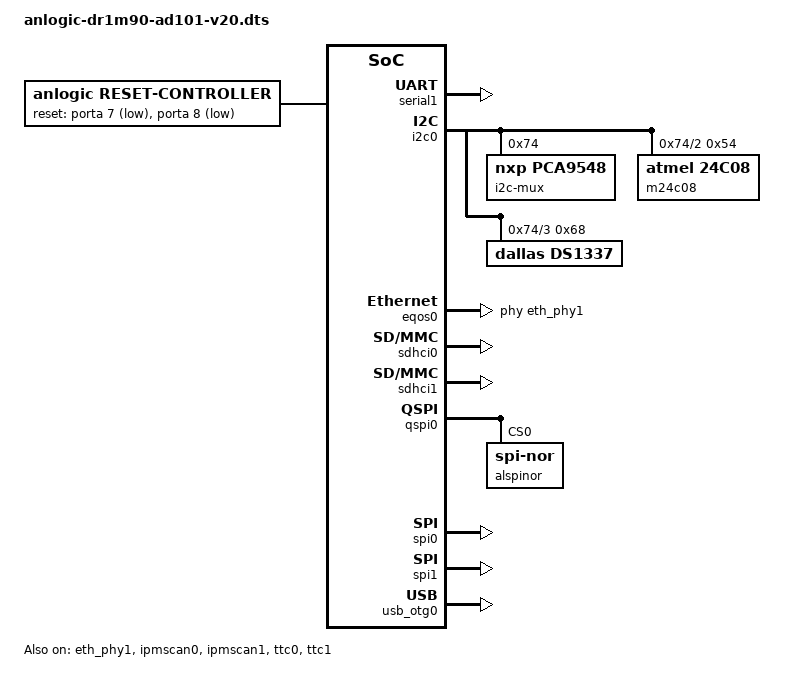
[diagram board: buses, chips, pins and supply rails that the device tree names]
// SPDX-License-Identifier: (GPL-2.0+ OR MIT)

/dts-v1/;
#include "anlogic-dr1m90.dts"
#include "anlogic-dr1m90-softip.dts"

&cma {
	alloc-ranges = <0x0 0x00000000 0x0 0x1fffffff>;
	size = <0x0 0x8000000>;
};

&memory {
	reg = <0 0x00000000 0 0x40000000>;
};

&soc {
	leds {
		compatible = "gpio-leds";
		led1: led1 {
			gpios = <&porta 14 GPIO_ACTIVE_HIGH>;
			linux,default-trigger = "heartbeat";
			status = "disabled";
		};
		led2: led2 {
			gpios = <&porta 13 GPIO_ACTIVE_HIGH>;
			linux,default-trigger = "heartbeat";
			status = "disabled";
		};
		led3: led3 {
			gpios = <&porta 12 GPIO_ACTIVE_HIGH>;
			linux,default-trigger = "heartbeat";
			status = "disabled";
		};
	};

	keys {
		compatible = "gpio-keys";
		sw6: sw6 {
			gpios = <&porta 10 GPIO_ACTIVE_LOW>;
			linux,code = <103>;
			status = "disabled";
		};
		sw8: sw8 {
			gpios = <&porta 11 GPIO_ACTIVE_HIGH>;
			linux,code = <108>;
			status = "disabled";
		};
		sw5: sw5 {
			gpios = <&portc 0 GPIO_ACTIVE_HIGH>;
			linux,code = <108>;
			status = "disabled";
		};
	};

	reset: reset-controller {
		compatible = "anlogic,reset-controller";
		#reset-cells = <1>;
		reset-gpios = <&porta 7 GPIO_ACTIVE_LOW>, <&porta 8 GPIO_ACTIVE_LOW>;
		reset-delays = <10>, <10>;
		reset-post-delays = <0>, <100>;
	};
};

&serial0 {
	status = "disabled";
};

&serial1 {
	status = "okay";
};

&i2c0 {
	status = "okay";

	i2c-mux@74 {
		compatible = "nxp,pca9548";
		#address-cells = <1>;
		#size-cells = <0>;
		reg = <0x74>;
		status = "okay";

		i2c@2 {
			#address-cells = <1>;
			#size-cells = <0>;
			reg = <2>;
			/*
			 * IIC_EEPROM 1kB memory which uses 256B blocks
			 * where every block has different address.
			 *    0 - 256B address 0x54
			 * 256B - 512B address 0x55
			 * 512B - 768B address 0x56
			 * 768B - 1024B address 0x57
			 */
			m24c08: eeprom@54 {
				compatible = "atmel,24c08";
				reg = <0x54>;
				pagesize = <16>;
				address-width = <8>;
				status = "okay";
			};
		};

		i2c@3 {
			#address-cells = <1>;
			#size-cells = <0>;
			reg = <3>;
			ds1337: rtc@68 {
				compatible = "dallas,ds1337";
				reg = <0x68>;
				trickle-resistor-ohms = <250>;
				status = "okay";
			};
		};

	};
};

&i2c1 {
	status = "disabled";
};

&gpio0 {
	status = "okay";
};

&gpio1 {
	status = "okay";
};

&gpio2 {
	status = "okay";
};

&gpio3 {
	status = "okay";
};

&eqos0 {
	phy-handle = <&eth_phy1>;
	resets = <&reset 1>;
	reset-names = "stmmaceth";
	status = "okay";
};

&eth_phy0 {
	/* Realtek RTL8211F (0x001cc916) */
	status = "disabled";
};

&eth_phy1 {
	/* Motorcomm YT8531 (0x4f51e91b) */
	status = "okay";
};

&eqos1 {
	phy-handle = <&eth_phy3>;
	status = "disabled";
};

&eth_phy2 {
	/* Realtek RTL8211F (0x001cc916) */
	status = "disabled";
};

&eth_phy3 {
	/* Motorcomm YT8531 (0x4f51e91b) */
	status = "disabled";
};

&axidmac {
	status = "okay";
};

&watchdog0 {
	status = "disabled";
};

&ipmscan0 {
	status = "okay";
};

&ipmscan1 {
	status = "okay";
};

&sdhci0 {
	status = "okay";
};

&sdhci1 {
	status = "okay";
};

&ahb_dma {
	status = "okay";
};

&qspi0 {
	rx-sample-delay-ns = <1>;
	status = "okay";

	//spidev@0 {
	//	compatible = "rohm,dh2228fv";
	//	reg = <0>;
	//	spi-max-frequency = <8000000>;
	//};

	flash0: flash@0 {
		compatible = "jedec,spi-nor";
		label = "alspinor";
		reg = <0x0>;
		spi-tx-bus-width = <4>;
		spi-rx-bus-width = <4>;
		spi-max-frequency = <AL_QSPI_MAX_FREQUENCY>;
	};

	//num-cs = <2>;
	//cs-gpios = <&gpio0 13 0>,
	//<&gpio0 14 0>;
};

&spi0 {
	status = "okay";
};

&spi1 {
	status = "okay";
};

&ttc0 {
	status = "okay";
};

&ttc1 {
	status = "okay";
};

&usb_otg0 {
	status = "okay";
	resets = <&reset 0>;
	reset-names = "dwc2";
};

&adc {
	status = "disabled";
};
